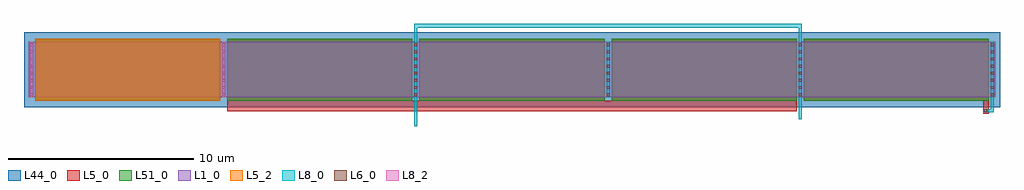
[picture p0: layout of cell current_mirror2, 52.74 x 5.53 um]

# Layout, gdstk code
import gdstk
lib = gdstk.Library(unit=1e-6, precision=5e-09)
def R(c, l, rs):  # rectangles x0, y0, x1, y1
    for r in rs: c.add(gdstk.rectangle(r[:2], r[2:], *l))
def A(c, l, x, y, w, h, nx, ny, dx, dy):  # array of equal rectangles
    R(c, l, [(x+i*dx, y+j*dy, x+i*dx+w, y+j*dy+h) for i in range(nx) for j in range(ny)])
L1_0 = (1, 0)
L5_0 = (5, 0)
L5_2 = (5, 2)
L6_0 = (6, 0)
L8_0 = (8, 0)
L8_2 = (8, 2)
L44_0 = (44, 0)
L51_0 = (51, 0)

via_stack_5 = lib.new_cell('via_stack$5')
R(via_stack_5, L5_0, [(-0.15,-0.15,0.15,0.15)])
R(via_stack_5, L6_0, [(-0.08,-0.08,0.08,0.08)])
R(via_stack_5, L8_0, [(-0.13,-0.08,0.13,0.08)])

nmoshv_5 = lib.new_cell('nmosHV$5')
A(nmoshv_5, L1_0, 0, 0, 0.3, 0.3, 6, 1, 10.38, 0)
R(nmoshv_5, L1_0, [(0,0,52.2,3)])
A(nmoshv_5, L5_0, 0.34, -0.18, 10, 3.36, 5, 1, 10.38, 0)
R(nmoshv_5, L5_2, [(0.34,-0.18,10.34,3.18)])
A(nmoshv_5, L6_0, 0.07, 0.07, 0.16, 0.16, 6, 7, 10.38, 0.385)
A(nmoshv_5, L6_0, 0.07, 2.77, 0.16, 0.16, 6, 1, 10.38, 0)
A(nmoshv_5, L8_0, 0.07, 0, 0.16, 3, 6, 1, 10.38, 0)
R(nmoshv_5, L8_2, [(0.07,0,0.23,3), (10.45,0,10.61,3)])
R(nmoshv_5, L44_0, [(-0.27,-0.52,52.47,3.52)])
A(nmoshv_5, L51_0, 0.34, -0.18, 10, 3.36, 5, 1, 10.38, 0)
nmoshv_5.add(gdstk.Label('nmosHV', (5.34,1.5), layer=63, texttype=0))
nmoshv_5.add(gdstk.Label('nmosHV', (5.34,1.5), layer=51, texttype=0))
nmoshv_5.add(gdstk.Label('nmosHV', (15.72,1.5), layer=51, texttype=0))
nmoshv_5.add(gdstk.Label('nmosHV', (26.1,1.5), layer=51, texttype=0))
nmoshv_5.add(gdstk.Label('nmosHV', (36.48,1.5), layer=51, texttype=0))
nmoshv_5.add(gdstk.Label('nmosHV', (46.86,1.5), layer=51, texttype=0))

current_mirror2 = lib.new_cell('current_mirror2')
R(current_mirror2, L5_0, [(39.745,-0.645,40.045,0.05), (-1.095,-0.525,29.665,0.05)])
R(current_mirror2, L8_0, [(9.015,-1.325,9.175,0.23), (29.775,-0.95,29.935,0.23), (39.765,-0.575,40.315,-0.415), (40.155,-0.575,40.315,0.23), (9.015,3.23,9.175,4.205), (29.775,3.23,29.935,4.205), (9.015,4,29.935,4.205)])
current_mirror2.add(gdstk.Reference(via_stack_5, (39.895,-0.495)))
current_mirror2.add(gdstk.Reference(nmoshv_5, (-11.815,0.23)))

lib.write_gds('current_mirror2.gds')
